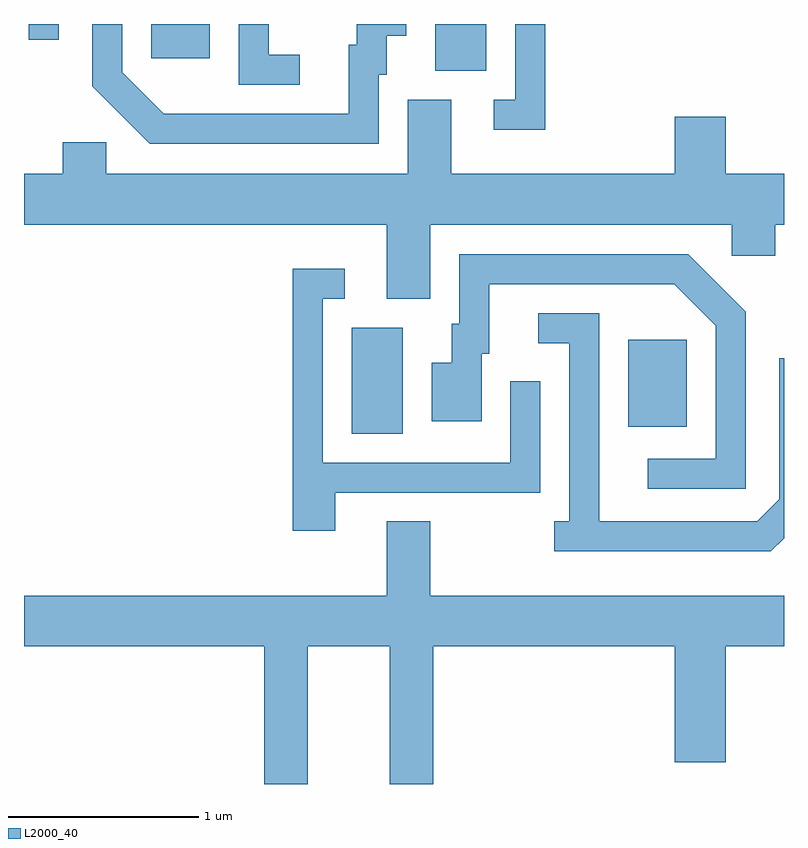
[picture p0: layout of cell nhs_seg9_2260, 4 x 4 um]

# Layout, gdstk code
import gdstk
lib = gdstk.Library(unit=1e-6, precision=1e-09)
def R(c, l, rs):  # rectangles x0, y0, x1, y1
    for r in rs: c.add(gdstk.rectangle(r[:2], r[2:], *l))
def P(c, l, *ps):  # polygons
    for p in ps: c.add(gdstk.Polygon(p, *l))
L2000_40 = (2000, 40)

nhs_seg9_2260 = lib.new_cell('nhs_seg9_2260')
R(nhs_seg9_2260, L2000_40, [(253.336,1986.276,253.604,1986.834), (254.791,1986.311,255.099,1986.769), (253.776,1988.186,254.044,1988.432), (252.281,1988.251,252.589,1988.432), (251.636,1988.348,251.794,1988.432)])
P(nhs_seg9_2260, L2000_40, [(253.479,1988.166),(253.519,1988.166),(253.519,1988.371),(253.624,1988.371),(253.624,1988.432),(253.361,1988.432),(253.361,1988.324),(253.321,1988.324),(253.321,1987.959),(252.347,1987.959),(252.129,1988.177),(252.129,1988.432),(251.971,1988.432),(251.971,1988.104),(252.274,1987.801),(253.479,1987.801)],
  [(254.354,1988.432),(254.196,1988.432),(254.196,1988.034),(254.083,1988.034),(254.083,1987.876),(254.354,1987.876)],
  [(253.063,1988.269),(252.899,1988.269),(252.899,1988.432),(252.741,1988.432),(252.741,1988.111),(253.063,1988.111)],
  [(253.749,1987.376),(255.336,1987.376),(255.336,1987.211),(255.564,1987.211),(255.564,1987.376),(255.611,1987.376),(255.611,1987.644),(255.304,1987.644),(255.304,1987.944),(255.036,1987.944),(255.036,1987.644),(253.859,1987.644),(253.859,1988.034),(253.631,1988.034),(253.631,1987.644),(252.044,1987.644),(252.044,1987.809),(251.816,1987.809),(251.816,1987.644),(251.611,1987.644),(251.611,1987.376),(253.521,1987.376),(253.521,1986.986),(253.749,1986.986)],
  [(255.409,1986.917),(255.107,1987.219),(253.901,1987.219),(253.901,1986.854),(253.861,1986.854),(253.861,1986.649),(253.756,1986.649),(253.756,1986.341),(254.019,1986.341),(254.019,1986.696),(254.059,1986.696),(254.059,1987.061),(255.034,1987.061),(255.251,1986.844),(255.251,1986.144),(254.893,1986.144),(254.893,1985.986),(255.409,1985.986)],
  [(253.249,1985.966),(254.329,1985.966),(254.329,1986.553),(254.171,1986.553),(254.171,1986.124),(253.184,1986.124),(253.184,1986.986),(253.298,1986.986),(253.298,1987.144),(253.026,1987.144),(253.026,1985.766),(253.249,1985.766)],
  [(255.611,1985.725),(255.611,1986.673),(255.586,1986.673),(255.586,1985.932),(255.469,1985.814),(254.639,1985.814),(254.639,1986.909),(254.318,1986.909),(254.318,1986.751),(254.481,1986.751),(254.481,1985.814),(254.403,1985.814),(254.403,1985.656),(255.542,1985.656)],
  [(253.104,1985.156),(253.536,1985.156),(253.536,1984.432),(253.764,1984.432),(253.764,1985.156),(255.036,1985.156),(255.036,1984.546),(255.304,1984.546),(255.304,1985.156),(255.611,1985.156),(255.611,1985.424),(253.749,1985.424),(253.749,1985.814),(253.521,1985.814),(253.521,1985.424),(251.611,1985.424),(251.611,1985.156),(252.876,1985.156),(252.876,1984.432),(253.104,1984.432)])

lib.write_gds('nhs_seg9_2260.gds')
